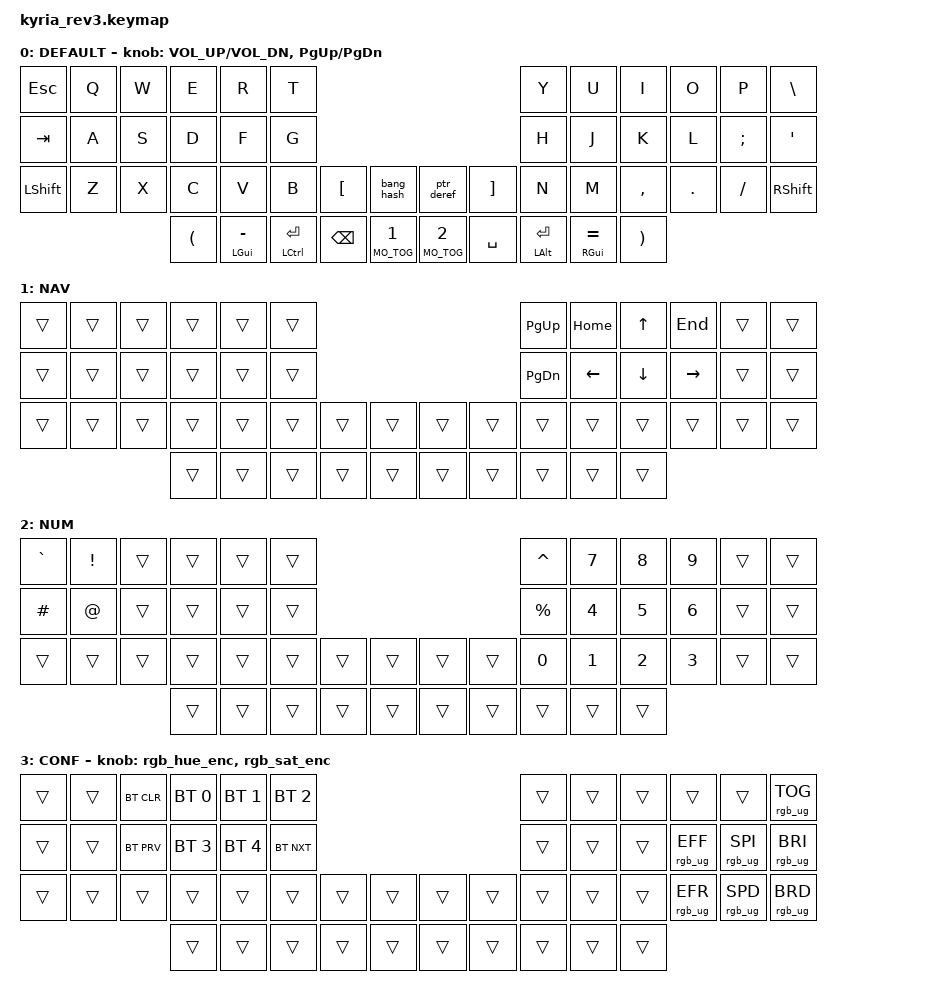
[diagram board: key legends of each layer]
/*
 * Copyright (c) 2023 The ZMK Contributors
 *
 * SPDX-License-Identifier: MIT
 */

#include <behaviors.dtsi>
#include <dt-bindings/zmk/bt.h>
#include <dt-bindings/zmk/keys.h>
#include <dt-bindings/zmk/rgb.h>

&led_strip {
    // chain-length = <6>;
    // chain-length = <31>; // Uncomment if using both per-key and underglow LEDs

    chain-length = <25>; // Uncomment if using only per-key LEDs.
};

/ {
    macros {
        MO_TOG: MO_TOG {
            compatible = "zmk,behavior-macro-one-param";
            #binding-cells = <1>;
            bindings = <&macro_param_1to1 &macro_param_1to2 &mo_tog MACRO_PLACEHOLDER MACRO_PLACEHOLDER>;
            label = "MO_TOG";
        };
    };

    behaviors {
        mo_tog: behavior_mo_tog {
            compatible = "zmk,behavior-hold-tap";
            label = "MO_TOG";
            bindings = <&mo>, <&tog>;

            #binding-cells = <2>;
            tapping-term-ms = <200>;
        };

        bang_hash: bang_hash {
            compatible = "zmk,behavior-mod-morph";
            label = "BANG_HASH";
            bindings = <&kp EXCL>, <&kp HASH>;

            #binding-cells = <0>;
            mods = <(MOD_LSFT|MOD_RSFT)>;
        };

        ptr_deref: ptr_deref {
            compatible = "zmk,behavior-mod-morph";
            label = "PTR_DEREF";
            bindings = <&kp STAR>, <&kp AMPS>;

            #binding-cells = <0>;
            mods = <(MOD_LSFT|MOD_RSFT)>;
        };

        rgb_hue_enc: rgb_hue_enc {
            compatible = "zmk,behavior-sensor-rotate";
            label = "RGB_HUE_ENC";
            #sensor-binding-cells = <0>;
            bindings = <&rgb_ug RGB_HUI>, <&rgb_ug RGB_HUD>;
        };

        rgb_sat_enc: rgb_sat_enc {
            compatible = "zmk,behavior-sensor-rotate";
            label = "RGB_SAT_ENC";
            #sensor-binding-cells = <0>;
            bindings = <&rgb_ug RGB_SAI>, <&rgb_ug RGB_SAD>;
        };
    };

    keymap {
        compatible = "zmk,keymap";

        DEFAULT {
            bindings = <
&kp ESC    &kp Q  &kp W  &kp E     &kp R           &kp T                                                         &kp Y           &kp U           &kp I      &kp O    &kp P     &kp BSLH
&kp TAB    &kp A  &kp S  &kp D     &kp F           &kp G                                                         &kp H           &kp J           &kp K      &kp L    &kp SEMI  &kp APOS
&kp LSHFT  &kp Z  &kp X  &kp C     &kp V           &kp B            &kp LBKT  &bang_hash  &ptr_deref  &kp RBKT   &kp N           &kp M           &kp COMMA  &kp DOT  &kp FSLH  &kp RSHFT
                         &kp LPAR  &mt LGUI MINUS  &mt LCTRL ENTER  &kp BSPC  &MO_TOG 1   &MO_TOG 2   &kp SPACE  &mt LALT ENTER  &mt RGUI EQUAL  &kp RPAR
            >;

            sensor-bindings =
                <&inc_dec_kp C_VOL_UP C_VOL_DN>,
                <&inc_dec_kp PAGE_UP PAGE_DOWN>;
        };

        NAV {
            bindings = <
&trans  &trans  &trans  &trans  &trans  &trans                                  &kp PAGE_UP    &kp HOME        &kp UP_ARROW    &kp END          &trans  &trans
&trans  &trans  &trans  &trans  &trans  &trans                                  &kp PAGE_DOWN  &kp LEFT_ARROW  &kp DOWN_ARROW  &kp RIGHT_ARROW  &trans  &trans
&trans  &trans  &trans  &trans  &trans  &trans  &trans  &trans  &trans  &trans  &trans         &trans          &trans          &trans           &trans  &trans
                        &trans  &trans  &trans  &trans  &trans  &trans  &trans  &trans         &trans          &trans
            >;
        };

        NUM {
            bindings = <
&kp GRAVE  &kp EXCL  &trans  &trans  &trans  &trans                                  &kp CARET     &kp N7  &kp N8  &kp N9  &trans  &trans
&kp HASH   &kp AT    &trans  &trans  &trans  &trans                                  &kp PERCENT   &kp N4  &kp N5  &kp N6  &trans  &trans
&trans     &trans    &trans  &trans  &trans  &trans  &trans  &trans  &trans  &trans  &kp NUMBER_0  &kp N1  &kp N2  &kp N3  &trans  &trans
                             &trans  &trans  &trans  &trans  &trans  &trans  &trans  &trans        &trans  &trans
            >;
        };

        CONF {
            bindings = <
&trans  &trans  &bt BT_CLR  &bt BT_SEL 0  &bt BT_SEL 1  &bt BT_SEL 2                                  &trans  &trans  &trans  &trans           &trans           &rgb_ug RGB_TOG
&trans  &trans  &bt BT_PRV  &bt BT_SEL 3  &bt BT_SEL 4  &bt BT_NXT                                    &trans  &trans  &trans  &rgb_ug RGB_EFF  &rgb_ug RGB_SPI  &rgb_ug RGB_BRI
&trans  &trans  &trans      &trans        &trans        &trans        &trans  &trans  &trans  &trans  &trans  &trans  &trans  &rgb_ug RGB_EFR  &rgb_ug RGB_SPD  &rgb_ug RGB_BRD
                            &trans        &trans        &trans        &trans  &trans  &trans  &trans  &trans  &trans  &trans
            >;

            sensor-bindings = <&rgb_hue_enc>, <&rgb_sat_enc>;
        };
    };

    conditional_layers {
        compatible = "zmk,conditional-layers";

        CON_LAYER {
            if-layers = <1 2>;
            then-layer = <3>;
        };
    };
};
